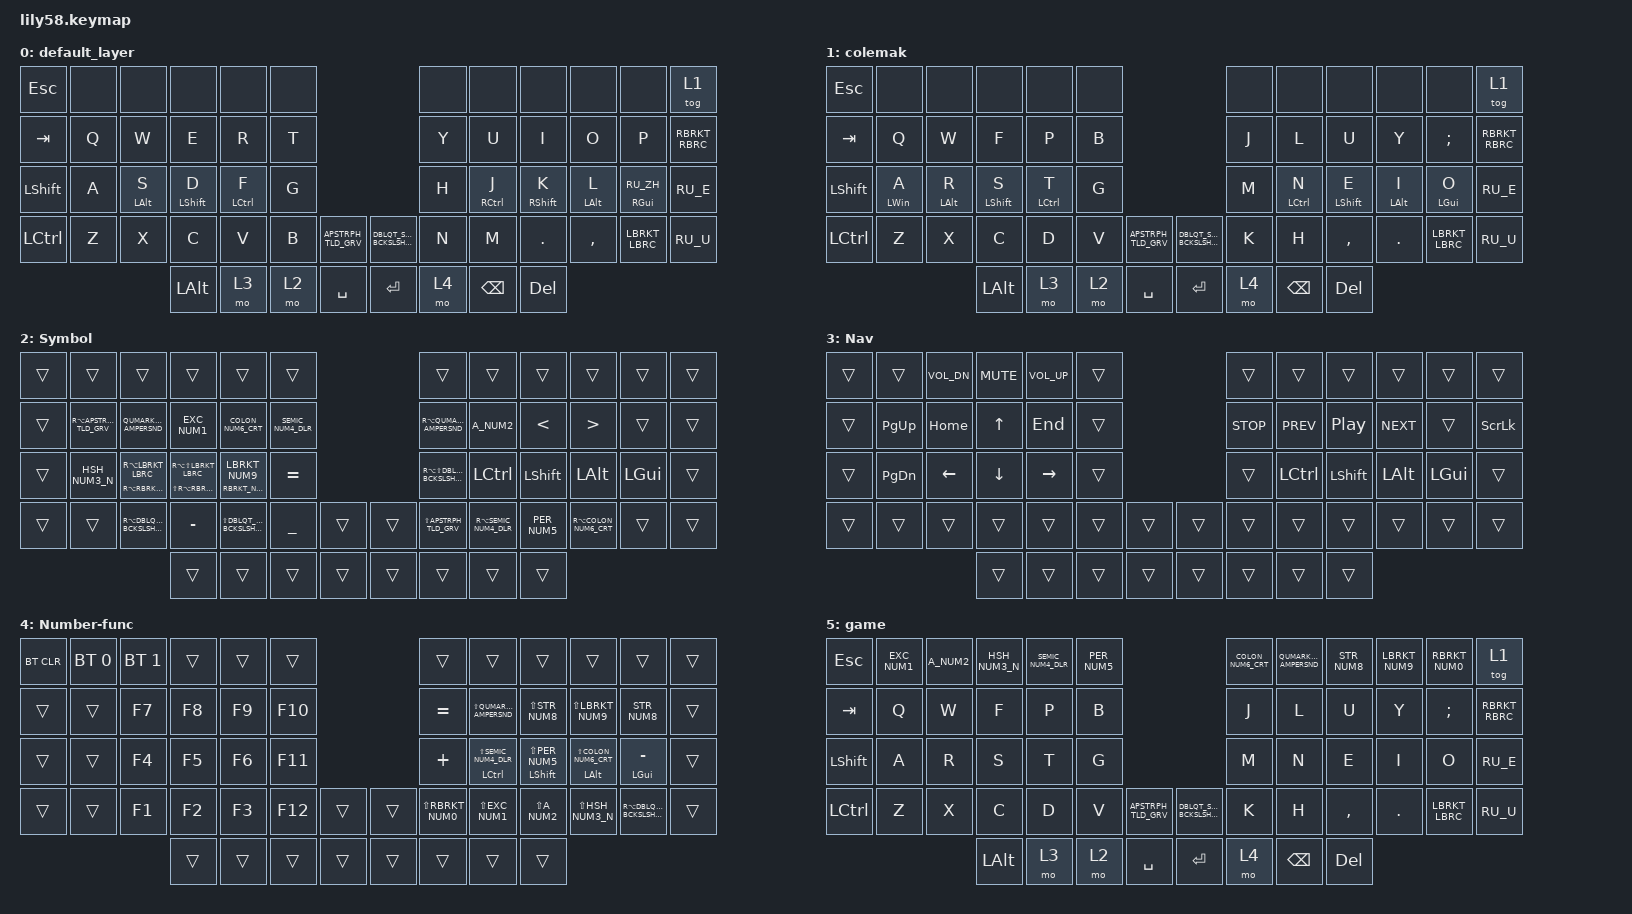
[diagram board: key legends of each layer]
/*
 * Copyright (c) 2020 The ZMK Contributors
 *
 * SPDX-License-Identifier: MIT
 */

#include "include/mykeys.h"
#include <behaviors.dtsi>
#include <dt-bindings/zmk/bt.h>
#include <dt-bindings/zmk/keys.h>

/ {
    combos {
        compatible = "zmk,combos";

        combo_esc {
            timeout-ms = <50>;
            key-positions = <0 1>;
            bindings = <&kp ESC>;
        };

        backspace {
            bindings = <&kp BACKSPACE>;
            key-positions = <15 16>;
            timeout-ms = <50>;
        };

        zx-undo {
            bindings = <&kp LC(Z)>;
            key-positions = <37 38>;
        };

        cut {
            bindings = <&kp LC(X)>;
            key-positions = <37 39>;
        };

        copy {
            bindings = <&kp LC(C)>;
            key-positions = <38 39>;
        };

        paste {
            bindings = <&kp LC(V)>;
            key-positions = <39 40>;
        };

        select-all {
            bindings = <&kp LC(A)>;
            key-positions = <37 40>;
        };

        togame {
            bindings = <&tog 5>;
            key-positions = <36 11>;
        };
    };

    behaviors {
        ss_hs_modmorph: ss_hs_modmorph {
            compatible = "zmk,behavior-mod-morph";
            label = "SS_HS_MODMORPH";
            bindings = <&kp M>, <&kp RIGHT_BRACKET>;

            #binding-cells = <0>;
            mods = <(MOD_LSFT|MOD_RSFT)>;
        };

        parent_tapdance: parent_tapdance {
            compatible = "zmk,behavior-tap-dance";
            label = "PARENT_TAPDANCE";
            #binding-cells = <0>;
            tapping-term-ms = <200>;
            bindings = <&kp LBRKT_NUM9>, <&kp RBRKT_NUM0>;
        };

        hrml: hrml {
            compatible = "zmk,behavior-hold-tap";
            #binding-cells = <2>;
            flavor = "balanced";
            tapping-term-ms = <300>;
            quick-tap-ms = <175>;
            require-prior-idle-ms = <150>;
            bindings = <&kp>, <&kp>;

            hold-trigger-on-release;
            hold-trigger-key-positions = <6 7 8 9 10 6 7 8 9 10 11 18 19 20 21 22 23 31 32 33 34 35 44 45 46 47 48 49 43 30>;
        };

        space_comma_td: space_comma_td {
            compatible = "zmk,behavior-tap-dance";
            label = "SPACE_COMMA_TD";
            #binding-cells = <0>;
            tapping-term-ms = <200>;
            bindings = <&kp SPACE>, <&kp COMMA>;
        };

        bracket_td: bracket_td {
            compatible = "zmk,behavior-tap-dance";
            label = "BRACKET_TD";
            #binding-cells = <0>;
            tapping-term-ms = <200>;
            bindings = <&kp RA(LBRKT_LBRC)>, <&kp RA(RBRKT_RBRC)>;
        };

        braces_td: braces_td {
            compatible = "zmk,behavior-tap-dance";
            label = "BRACES_TD";
            #binding-cells = <0>;
            tapping-term-ms = <200>;
            bindings = <&kp LS(RA(LBRKT_LBRC))>, <&kp LS(RA(RBRKT_RBRC))>;
        };

        hrmr: hrmr {
            compatible = "zmk,behavior-hold-tap";
            #binding-cells = <2>;
            flavor = "balanced";
            tapping-term-ms = <300>;
            quick-tap-ms = <175>;
            require-prior-idle-ms = <150>;
            bindings = <&kp>, <&kp>;

            hold-trigger-on-release;
            hold-trigger-key-positions = <0 1 2 3 4 5 12 13 14 15 16 17 24 25 26 27 28 29 36 37 38 39 40 41 42>;
        };
    };

    keymap {
        compatible = "zmk,keymap";

        default_layer {
            // ------------------------------------------------------------------------------------------------------------
            // |  ESC  |  1  |  2  |  3   |  4   |  5   |                   |  6   |  7    |  8    |  9   |   0   |   `   |
            // |  TAB  |  Q  |  W  |  E   |  R   |  T   |                   |  Y   |  U    |  I    |  O   |   P   |   -   |
            // |  CTRL |  A  |  S  |  D   |  F   |  G   |                   |  H   |  J    |  K    |  L   |   ;   |   '   |
            // | SHIFT |  Z  |  X  |  C   |  V   |  B   |   "["  |  |  "]"  |  N   |  M    |  ,    |  .   |   /   | SHIFT |
            //                     | ALT  | GUI  | LOWER|  SPACE |  | ENTER | RAISE| BSPC  | GUI   |

            bindings = <
&kp ESC         &none  &none             &none               &none          &none                                                      &none  &none          &none                &none             &none             &tog 1
&kp TAB         &kp Q  &kp W             &kp E               &kp R          &kp T                                                      &kp Y  &kp U          &kp I                &kp O             &kp P             &kp RBRKT_RBRC
&kp LEFT_SHIFT  &kp A  &hrml LEFT_ALT S  &hrml LEFT_SHIFT D  &hrml LCTRL F  &kp G                                                      &kp H  &hrmr RCTRL J  &hrmr RIGHT_SHIFT K  &hrmr LEFT_ALT L  &hrmr RGUI RU_ZH  &kp RU_E
&kp LCTRL       &kp Z  &kp X             &kp C               &kp V          &kp B  &kp APSTRPH_TLD_GRV    &kp DBLQT_SLSH_BCKSLSH_PIPE  &kp N  &kp M          &kp DOT              &kp COMMA         &kp LBRKT_LBRC    &kp RU_U
                                         &kp LALT            &mo 3          &mo 2  &kp SPACE              &kp RET                      &mo 4  &kp BACKSPACE  &kp DELETE
            >;
        };

        colemak {
            bindings = <
&kp ESC         &none             &none             &none               &none          &none                                                      &none  &none          &none               &none             &none             &tog 1
&kp TAB         &kp Q             &kp W             &kp F               &kp P          &kp B                                                      &kp J  &kp L          &kp U               &kp Y             &kp SEMI          &kp RBRKT_RBRC
&kp LEFT_SHIFT  &hrmr LEFT_WIN A  &hrml LEFT_ALT R  &hrml LEFT_SHIFT S  &hrml LCTRL T  &kp G                                                      &kp M  &hrmr LCTRL N  &hrmr LEFT_SHIFT E  &hrmr LEFT_ALT I  &hrmr LEFT_GUI O  &kp RU_E
&kp LCTRL       &kp Z             &kp X             &kp C               &kp D          &kp V  &kp APSTRPH_TLD_GRV    &kp DBLQT_SLSH_BCKSLSH_PIPE  &kp K  &kp H          &kp COMMA           &kp DOT           &kp LBRKT_LBRC    &kp RU_U
                                                    &kp LALT            &mo 3          &mo 2  &kp SPACE              &kp RET                      &mo 4  &kp BACKSPACE  &kp DELETE
            >;
        };

        Symbol {
            // ------------------------------------------------------------------------------------------------------------
            // | BTCLR | BT1 | BT2 |  BT3 |  BT4 |  BT5 |                   |      |       |       |      |       |       |
            // |  F1   |  F2 |  F3 |  F4  |  F5  |  F6  |                   |  F7  |  F8   |  F9   |  F10 |  F11  |  F12  |
            // |   `   |  !  |  @  |  #   |  $   |  %   |                   |  ^   |  &    |  *    |  (   |   )   |   ~   |
            // |       |     |     |      |      |      |        |  |       |      |  _    |  +    |  {   |   }   |  "|"  |
            //                     |      |      |      |        |  |       |      |       |       |

            bindings = <
&trans  &trans                   &trans                               &trans                                       &trans                           &trans                                &trans                               &trans                  &trans          &trans                  &trans        &trans
&trans  &kp RA(APSTRPH_TLD_GRV)  &kp QUMARK_NUM7_AMPERSND             &kp EXC_NUM1                                 &kp COLON_NUM6_CRT               &kp SEMIC_NUM4_DLR                    &kp RA(QUMARK_NUM7_AMPERSND)         &kp A_NUM2              &kp LESS_THAN   &kp GREATER_THAN        &trans        &trans
&trans  &kp HSH_NUM3_N           &hrml RA(RBRKT_RBRC) RA(LBRKT_LBRC)  &hrml LS(RA(RBRKT_RBRC)) RA(LS(LBRKT_LBRC))  &hrml RBRKT_NUM0 LBRKT_NUM9      &kp EQUAL                             &kp RA(LS(DBLQT_SLSH_BCKSLSH_PIPE))  &kp LEFT_CONTROL        &kp LEFT_SHIFT  &kp LEFT_ALT            &kp LEFT_GUI  &trans
&trans  &trans                   &kp RA(DBLQT_SLSH_BCKSLSH_PIPE)      &kp MINUS                                    &kp LS(DBLQT_SLSH_BCKSLSH_PIPE)  &kp UNDER           &trans    &trans  &kp LS(APSTRPH_TLD_GRV)              &kp RA(SEMIC_NUM4_DLR)  &kp PER_NUM5    &kp RA(COLON_NUM6_CRT)  &trans        &trans
                                                                      &trans                                       &trans                           &trans              &trans    &trans  &trans                               &trans                  &trans
            >;
        };

        Nav {
            // ------------------------------------------------------------------------------------------------------------
            // |       |     |     |      |      |      |                   |      |       |       |      |       |       |
            // |   `   |  1  |  2  |  3   |  4   |  5   |                   |  6   |   7   |   8   |  9   |   0   |       |
            // |   F1  |  F2 |  F3 |  F4  |  F5  |  F6  |                   |      |   <-  |   v   |  ^   |  ->   |       |
            // |   F7  |  F8 |  F9 |  F10 |  F11 |  F12 |        |  |       |  +   |   -   |   =   |  [   |   ]   |   \   |
            //                     |      |      |      |        |  |       |      |       |       |

            bindings = <
&trans  &trans         &kp C_VOL_DN    &kp C_MUTE      &kp C_VOLUME_UP  &trans                    &trans      &trans      &trans            &trans      &trans    &trans
&trans  &kp PG_UP      &kp HOME        &kp UP_ARROW    &kp END          &trans                    &kp C_STOP  &kp C_PREV  &kp C_PLAY_PAUSE  &kp C_NEXT  &trans    &kp SCROLLLOCK
&trans  &kp PAGE_DOWN  &kp LEFT_ARROW  &kp DOWN_ARROW  &kp RIGHT_ARROW  &trans                    &trans      &kp LCTRL   &kp LEFT_SHIFT    &kp LALT    &kp LGUI  &trans
&trans  &trans         &trans          &trans          &trans           &trans  &trans    &trans  &trans      &trans      &trans            &trans      &trans    &trans
                                       &trans          &trans           &trans  &trans    &trans  &trans      &trans      &trans
            >;
        };

        Number-func {
            bindings = <
&bt BT_CLR  &bt BT_SEL 0  &bt BT_SEL 1  &trans  &trans  &trans                     &trans              &trans                          &trans                         &trans                             &trans                           &trans
&trans      &trans        &kp F7        &kp F8  &kp F9  &kp F10                    &kp EQUAL           &kp LS(QUMARK_NUM7_AMPERSND)    &kp LS(STR_NUM8)               &kp LS(LBRKT_NUM9)                 &kp STR_NUM8                     &trans
&trans      &trans        &kp F4        &kp F5  &kp F6  &kp F11                    &kp PLUS            &hrmr LCTRL LS(SEMIC_NUM4_DLR)  &hrmr LEFT_SHIFT LS(PER_NUM5)  &hrmr LEFT_ALT LS(COLON_NUM6_CRT)  &hrmr LEFT_GUI MINUS             &trans
&trans      &trans        &kp F1        &kp F2  &kp F3  &kp F12  &trans    &trans  &kp LS(RBRKT_NUM0)  &kp LS(EXC_NUM1)                &kp LS(A_NUM2)                 &kp LS(HSH_NUM3_N)                 &kp RA(DBLQT_SLSH_BCKSLSH_PIPE)  &trans
                                        &trans  &trans  &trans   &trans    &trans  &trans              &trans                          &trans
            >;
        };

        game {
            bindings = <
&kp ESC         &kp EXC_NUM1  &kp A_NUM2  &kp HSH_NUM3_N  &kp SEMIC_NUM4_DLR  &kp PER_NUM5                                                      &kp COLON_NUM6_CRT  &kp QUMARK_NUM7_AMPERSND  &kp STR_NUM8  &kp LBRKT_NUM9  &kp RBRKT_NUM0  &tog 1
&kp TAB         &kp Q         &kp W       &kp F           &kp P               &kp B                                                             &kp J               &kp L                     &kp U         &kp Y           &kp SEMI        &kp RBRKT_RBRC
&kp LEFT_SHIFT  &kp A         &kp R       &kp S           &kp T               &kp G                                                             &kp M               &kp N                     &kp E         &kp I           &kp O           &kp RU_E
&kp LCTRL       &kp Z         &kp X       &kp C           &kp D               &kp V         &kp APSTRPH_TLD_GRV    &kp DBLQT_SLSH_BCKSLSH_PIPE  &kp K               &kp H                     &kp COMMA     &kp DOT         &kp LBRKT_LBRC  &kp RU_U
                                          &kp LALT        &mo 3               &mo 2         &kp SPACE              &kp RET                      &mo 4               &kp BACKSPACE             &kp DELETE
            >;
        };
    };
};
